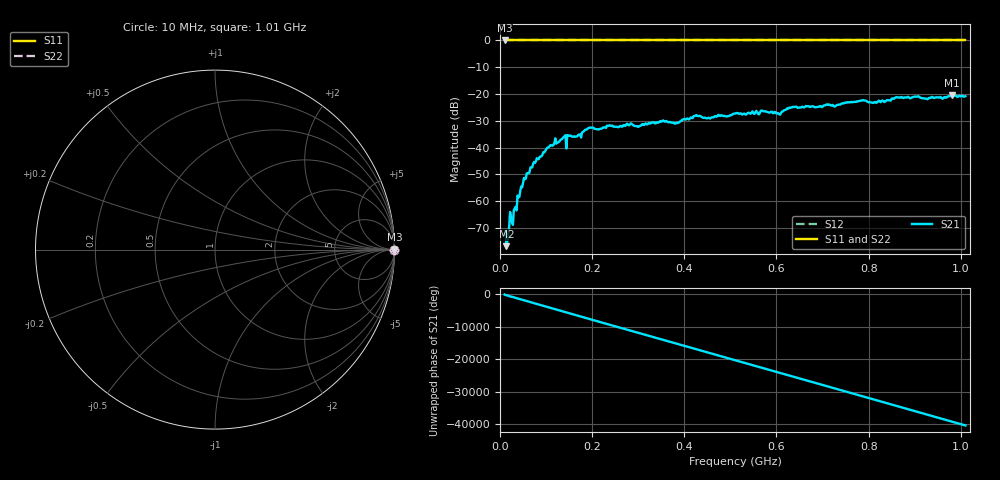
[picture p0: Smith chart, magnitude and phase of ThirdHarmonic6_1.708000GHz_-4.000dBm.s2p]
! 8/16/2025 8:32:12 PM
! C:\ANRITSUVNA\TEMP\TEMP.S2P
! CHANNEL.1
! TR.MEASUREMENT
! RAW.DATA
! RF.CORRECTION.OFF
! AVERAGING.OFF
! IF.BANDWIDTH: 5KHZ
! SWEEPTYPE:  FREQ.SWEEP(Linear)
! Reference Plane Port Info
! PORT:  PORT1  PORT2
! DISTANCE:  0  m  0  m
! TIME:  0  s  0  s
! PHASE.OFFSET:  0  deg.  0  deg.
! LOSS:  0  dB  0  dB
! REF.LOSS:  0  dB  0  dB
! REF.FREQ:  0  Hz  0  Hz
! Power Info
! POWER:  -20  dBm  -20  dBm
! EFF.POWER:  -20  dBm  -20  dBm
! SOURCE.ATTEN:  0  dB  0  dB
! TEST.ATTEN:  0  dB  0  dB
# GHZ S RI R 50.0
! FREQ.GHZ  S11RE  S11IM  S21RE  S21IM  S12RE  S12IM  S22RE  S22IM
!; PortSelection: Port_12
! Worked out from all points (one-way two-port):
!   501 points, 10 MHz to 1.01 GHz, reference 50 ohm
!   highest |S21| = -20.44 dB at 980 MHz (marker M1); lowest = -76.8 dB at 14 MHz (marker M2)
!   lowest |S11| = 0.0 dB at 10 MHz (marker M3)
!   |S11| at or under -10 dB: nowhere
!   |S22| runs from 0.0 to 0.0 dB; largest |S21 - S12| = 1.1
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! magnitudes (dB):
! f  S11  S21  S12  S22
! 10 MHz  0.0  -72.2  0.0  0.0
! 14 MHz  0.0  -76.8  0.0  0.0
! 32 MHz  0.0  -62.6  0.0  0.0
! 48 MHz  0.0  -54.8  0.0  0.0
! 76 MHz  0.0  -45.7  0.0  0.0
! 106 MHz  0.0  -39.8  0.0  0.0
! 138 MHz  0.0  -36.1  0.0  0.0
! 178 MHz  0.0  -34.4  0.0  0.0
! 196 MHz  0.0  -32.5  0.0  0.0
! 300 MHz  0.0  -32.3  0.0  0.0
! 344 MHz  0.0  -30.6  0.0  0.0
! 382 MHz  0.0  -30.8  0.0  0.0
! 424 MHz  0.0  -28.1  0.0  0.0
! 452 MHz  0.0  -28.8  0.0  0.0
! 510 MHz  0.0  -27.2  0.0  0.0
! 570 MHz  0.0  -26.3  0.0  0.0
! 604 MHz  0.0  -27.2  0.0  0.0
! 632 MHz  0.0  -25.0  0.0  0.0
! 678 MHz  0.0  -24.6  0.0  0.0
! 844 MHz  0.0  -22.3  0.0  0.0
! 980 MHz  0.0  -20.4  0.0  0.0
! 1.01 GHz  0.0  -20.8  0.0  0.0
